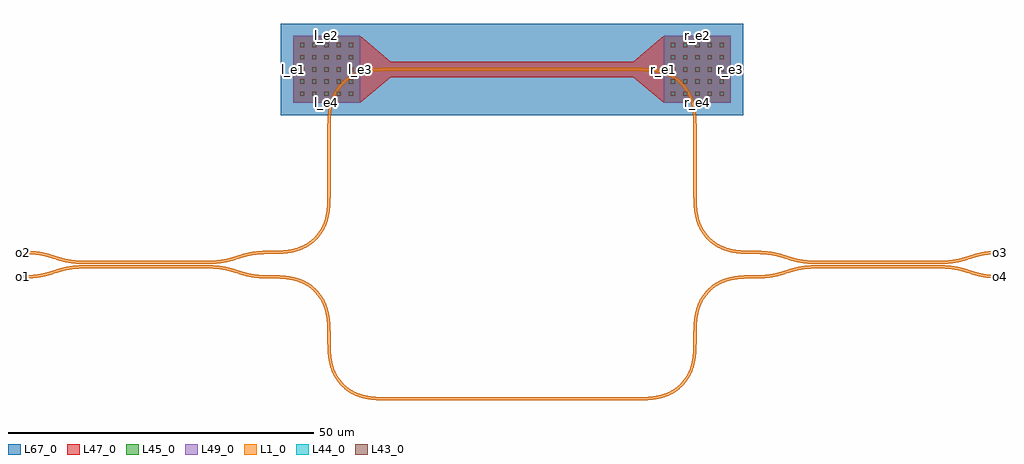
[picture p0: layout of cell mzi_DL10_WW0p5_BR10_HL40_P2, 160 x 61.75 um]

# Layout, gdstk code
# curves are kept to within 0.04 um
from math import pi, radians
import gdstk
lib = gdstk.Library(unit=1e-6, precision=1e-09)
def R(c, l, rs):  # rectangles x0, y0, x1, y1
    for r in rs: c.add(gdstk.rectangle(r[:2], r[2:], *l))
def A(c, l, x, y, w, h, nx, ny, dx, dy):  # array of equal rectangles
    R(c, l, [(x+i*dx, y+j*dy, x+i*dx+w, y+j*dy+h) for i in range(nx) for j in range(ny)])
def P(c, l, *ps):  # polygons
    for p in ps: c.add(gdstk.Polygon(p, *l))
L1_0 = (1, 0)
L43_0 = (43, 0)
L44_0 = (44, 0)
L45_0 = (45, 0)
L47_0 = (47, 0)
L49_0 = (49, 0)
L67_0 = (67, 0)

coupler_gdsfactorypcompo = lib.new_cell('coupler_gdsfactorypcomponentspcouplerspcoupler_G0p236_L_1f4d8da8')
P(coupler_gdsfactorypcompo, L1_0, [(-10,-1.882),(-10,-1.382),(-8.633,-1.335),(-7.417,-1.193),(-6.249,-0.938),(-4.05,-0.258),(-3.065,-0.019),(-1.652,0.182),(-0.303,0.248),(21.144,0.219),(22.346,0.103),(23.349,-0.08),(26.086,-0.893),(27.222,-1.159),(28.511,-1.326),(30,-1.382),(30,-1.882),(27.877,-1.764),(26.291,-1.466),(23.059,-0.528),(22.062,-0.364),(20.854,-0.267),(-0.297,-0.252),(-1.725,-0.327),(-3.059,-0.528),(-6.034,-1.397),(-7.335,-1.686),(-8.597,-1.834)],
  [(0,0.486),(-1.403,0.534),(-2.665,0.682),(-3.796,0.925),(-6.086,1.629),(-7.126,1.877),(-8.511,2.062),(-10,2.118),(-10,2.618),(-8.597,2.57),(-7.335,2.422),(-6.204,2.179),(-3.914,1.475),(-2.874,1.227),(-1.489,1.042),(0,0.986),(21.116,1.016),(22.17,1.114),(23.24,1.303),(25.95,2.11),(27.032,2.368),(28.348,2.55),(30,2.618),(30,2.118),(28.511,2.062),(27.222,1.895),(26.086,1.629),(23.532,0.858),(22.56,0.665),(21.403,0.534),(20,0.486)])

bend_euler_gdsfactorypco = lib.new_cell('bend_euler_gdsfactorypcomponentspbendspbend_euler_R10_A_a2cdd40c')
P(bend_euler_gdsfactorypco, L1_0, [(0,-0.25),(0,0.25),(1.655,0.269),(2.881,0.353),(3.952,0.52),(4.99,0.806),(5.731,1.113),(6.431,1.505),(7.575,2.425),(8.495,3.569),(8.887,4.269),(9.194,5.01),(9.48,6.048),(9.647,7.119),(9.731,8.345),(9.75,10),(10.25,10),(10.158,7.205),(10.023,6.224),(9.797,5.254),(9.457,4.312),(9.066,3.545),(8.5,2.715),(7.928,2.072),(7.285,1.5),(6.455,0.934),(5.688,0.543),(4.746,0.203),(3.776,-0.023),(2.795,-0.158)])

straight_gdsfactorypcomp = lib.new_cell('straight_gdsfactorypcomponentspwaveguidespstraight_L10__7c08703e')
R(straight_gdsfactorypcomp, L1_0, [(0,-0.25,10,0.25)])

straight_heater_metal_un = lib.new_cell('straight_heater_metal_undercut_gdsfactorypcomponentspwa_65945199')
R(straight_heater_metal_un, L1_0, [(0,-0.25,40,0.25)])
A(straight_heater_metal_un, L43_0, -14.75, -4.35, 0.7, 0.7, 5, 5, 2, 2)
A(straight_heater_metal_un, L43_0, 46.05, -4.35, 0.7, 0.7, 5, 5, 2, 2)
A(straight_heater_metal_un, L44_0, -14.75, -4.35, 0.7, 0.7, 5, 5, 2, 2)
A(straight_heater_metal_un, L44_0, 46.05, -4.35, 0.7, 0.7, 5, 5, 2, 2)
R(straight_heater_metal_un, L45_0, [(-15.9,-5.5,-4.9,5.5), (44.9,-5.5,55.9,5.5)])
P(straight_heater_metal_un, L47_0, [(-15.9,-5.5),(-15.9,5.5),(-4.9,5.5),(0.1,1.25),(39.9,1.25),(44.9,5.5),(55.9,5.5),(55.9,-5.5),(44.9,-5.5),(39.9,-1.25),(0.1,-1.25),(-4.9,-5.5)])
R(straight_heater_metal_un, L49_0, [(-15.9,-5.5,-4.9,5.5), (44.9,-5.5,55.9,5.5)])

heater_with_padding_wcsf = lib.new_cell('heater_with_padding_WCSFstrip_Mgdsfactorypcross_section_a10d5798')
R(heater_with_padding_wcsf, L67_0, [(-17.9,-7.5,57.9,7.5)])
heater_with_padding_wcsf.add(gdstk.Reference(straight_heater_metal_un, (0,0)))
heater_with_padding_wcsf.add(gdstk.Label('DRC_INTERCONNECTION', (0,0), layer=66, texttype=1))
heater_with_padding_wcsf.add(gdstk.Label('DRC_INTERCONNECTION', (40,0), layer=66, texttype=1))

c_straight_gdsfactorypcomp = lib.new_cell('straight_gdsfactorypcomponentspwaveguidespstraight_L40__f7f8844a')
R(c_straight_gdsfactorypcomp, L1_0, [(0,-0.25,40,0.25)])

mzi_dl10_ww0p5_br10_hl40 = lib.new_cell('mzi_DL10_WW0p5_BR10_HL40_P2')
mzi_dl10_ww0p5_br10_hl40.add(gdstk.Reference(coupler_gdsfactorypcompo, (0,0)))
mzi_dl10_ww0p5_br10_hl40.add(gdstk.Reference(bend_euler_gdsfactorypco, (30,2.368)))
mzi_dl10_ww0p5_br10_hl40.add(gdstk.Reference(bend_euler_gdsfactorypco, (30,-1.632), x_reflection=True))
mzi_dl10_ww0p5_br10_hl40.add(gdstk.Reference(straight_gdsfactorypcomp, (40,12.368), rotation=pi/2))
mzi_dl10_ww0p5_br10_hl40.add(gdstk.Reference(bend_euler_gdsfactorypco, (40,22.368), rotation=pi/2, x_reflection=True))
mzi_dl10_ww0p5_br10_hl40.add(gdstk.Reference(bend_euler_gdsfactorypco, (40,-11.632), rotation=3*pi/2))
mzi_dl10_ww0p5_br10_hl40.add(gdstk.Reference(heater_with_padding_wcsf, (50,32.368)))
mzi_dl10_ww0p5_br10_hl40.add(gdstk.Reference(c_straight_gdsfactorypcomp, (50,-21.632)))
mzi_dl10_ww0p5_br10_hl40.add(gdstk.Reference(bend_euler_gdsfactorypco, (90,32.368), x_reflection=True))
mzi_dl10_ww0p5_br10_hl40.add(gdstk.Reference(straight_gdsfactorypcomp, (100,22.368), rotation=3*pi/2))
mzi_dl10_ww0p5_br10_hl40.add(gdstk.Reference(bend_euler_gdsfactorypco, (100,12.368), rotation=3*pi/2))
mzi_dl10_ww0p5_br10_hl40.add(gdstk.Reference(bend_euler_gdsfactorypco, (90,-21.632)))
mzi_dl10_ww0p5_br10_hl40.add(gdstk.Reference(bend_euler_gdsfactorypco, (100,-11.632), rotation=pi/2, x_reflection=True))
mzi_dl10_ww0p5_br10_hl40.add(gdstk.Reference(coupler_gdsfactorypcompo, (120,0)))
mzi_dl10_ww0p5_br10_hl40.add(gdstk.Label('o1', (-10,-1.632), layer=66, texttype=0))
mzi_dl10_ww0p5_br10_hl40.add(gdstk.Label('o2', (-10,2.368), layer=66, texttype=0))
mzi_dl10_ww0p5_br10_hl40.add(gdstk.Label('o3', (150,2.368), layer=66, texttype=0))
mzi_dl10_ww0p5_br10_hl40.add(gdstk.Label('o4', (150,-1.632), layer=66, texttype=0))
mzi_dl10_ww0p5_br10_hl40.add(gdstk.Label('l_e1', (34.1,32.368), layer=66, texttype=0))
mzi_dl10_ww0p5_br10_hl40.add(gdstk.Label('l_e2', (39.6,37.868), layer=66, texttype=0))
mzi_dl10_ww0p5_br10_hl40.add(gdstk.Label('l_e3', (45.1,32.368), layer=66, texttype=0))
mzi_dl10_ww0p5_br10_hl40.add(gdstk.Label('l_e4', (39.6,26.868), layer=66, texttype=0))
mzi_dl10_ww0p5_br10_hl40.add(gdstk.Label('r_e1', (94.9,32.368), layer=66, texttype=0))
mzi_dl10_ww0p5_br10_hl40.add(gdstk.Label('r_e2', (100.4,37.868), layer=66, texttype=0))
mzi_dl10_ww0p5_br10_hl40.add(gdstk.Label('r_e3', (105.9,32.368), layer=66, texttype=0))
mzi_dl10_ww0p5_br10_hl40.add(gdstk.Label('r_e4', (100.4,26.868), layer=66, texttype=0))

lib.write_gds('mzi_DL10_WW0p5_BR10_HL40_P2.gds')
